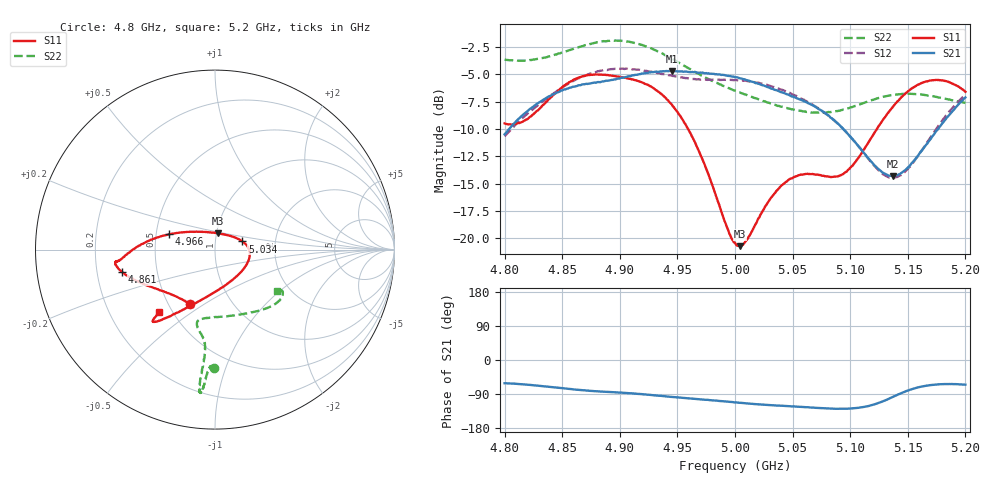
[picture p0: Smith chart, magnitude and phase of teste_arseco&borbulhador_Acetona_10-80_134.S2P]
! Network Analyzer HP8722D
! Hewlett-Packard
! Data name: Linha & Wilkinson
! Saver's name: Rodrigo Anjos
! Comments: Teste da utilização de aquisição
! continua pelo VNA HP8722D
! Time and date: 17/4/2025 15:28
!  Frequency  S11  S21  S12  S22
# HZ  S  MA R 50
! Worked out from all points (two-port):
!   401 points, 4.8 GHz to 5.2 GHz, reference 50 ohm
!   highest |S21| = -4.69 dB at 4.945 GHz (marker M1); lowest = -14.3 dB at 5.137 GHz (marker M2)
!   |S21| within 3 dB of the highest: 4.828 GHz to 5.064 GHz (236.3 MHz wide, 4.78 % of centre); 5.194515 GHz to end of sweep
!   lowest |S11| = -20.7 dB at 5.004 GHz (marker M3), VSWR 1.20, Z = 50.6 + j9.28 ohm
!   |S11| at or under -10 dB: 4.959 GHz to 5.123 GHz (163.9 MHz wide, 3.25 % of centre)
!   |S22| runs from -8.5 to -1.9 dB; largest |S21 - S12| = 0.87
!   S11 on the Smith chart (normalised r, x): 4.8 GHz: 0.64, -0.44; 4.861 GHz: 0.31, -0.11; 4.966 GHz: 0.59, +0.11; 5.034 GHz: 1.35, +0.13; 5.2 GHz: 0.42, -0.38
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4.8e9  0.3353 -114.5  0.299 -61.3  0.2924 -175.4  0.6572 -90.6
4.819e9  0.3495 -134.6  0.3785 -64.9  0.3675 -174.4  0.6518 -92.1
4.861e9  0.5343 -166.6  0.4949 -78.0  0.5291 -177.8  0.7391 -94.5
4.867e9  0.5491 -168.9  0.5045 -79.6  0.5468 -178.9  0.7562 -94.6
4.9e9  0.5476 -173.3  0.5378 -86.0  0.5958 174.7  0.8015 -96.0
4.934e9  0.4662 -179.2  0.5781 -94.4  0.5693 171.1  0.7104 -96.4
4.945e9  0.4098 175.7  0.5828 -97.3  0.555 171.4  0.663 -96.0
4.966e9  0.2691 161.6  0.5748 -102.6  0.5333 173.2  0.5731 -95.5
5e9  0.09539 96.0  0.5457 -111.9  0.5302 175.5  0.4734 -99.6
5.004e9  0.09202 81.2  0.5397 -113.0  0.5288 175.3  0.4654 -100.4
5.011e9  0.09953 57.3  0.5277 -114.8  0.5228 175.4  0.4495 -102.1
5.034e9  0.1596 16.4  0.4783 -119.8  0.4917 174.2  0.4081 -103.5
5.049e9  0.1878 1.7  0.4457 -122.3  0.4579 173.4  0.389 -99.6
5.067e9  0.1969 -17.6  0.4069 -125.4  0.4101 173.1  0.3756 -90.0
5.096e9  0.2007 -68.2  0.3083 -128.6  0.3082 174.5  0.3904 -67.2
5.122e9  0.3092 -108.6  0.2136 -116.1  0.2116 -170.8  0.4337 -49.1
5.134e9  0.3817 -118.3  0.1933 -101.6  0.1895 -154.6  0.4499 -43.1
5.137e9  0.3992 -119.9  0.1922 -97.6  0.1891 -149.8  0.4527 -41.8
5.148e9  0.46 -125.0  0.2055 -82.9  0.2026 -133.0  0.4582 -37.6
5.168e9  0.5244 -129.8  0.2769 -67.2  0.2808 -113.2  0.4485 -32.7
5.184e9  0.5221 -131.3  0.357 -63.5  0.3688 -107.8  0.4336 -31.5
5.2e9  0.468 -131.6  0.4407 -65.2  0.4524 -107.3  0.4159 -33.9
